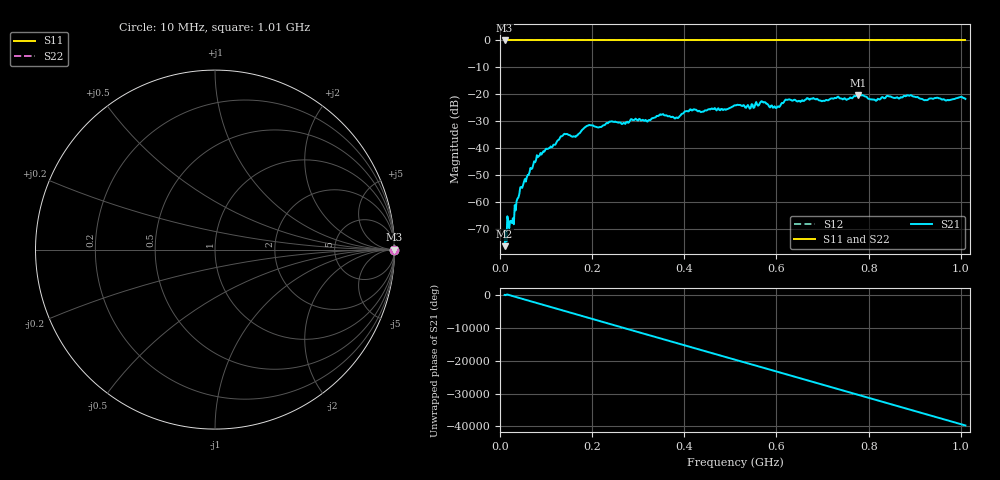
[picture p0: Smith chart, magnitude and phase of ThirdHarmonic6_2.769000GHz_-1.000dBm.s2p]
! 8/17/2025 7:02:09 AM
! C:\ANRITSUVNA\TEMP\TEMP.S2P
! CHANNEL.1
! TR.MEASUREMENT
! RAW.DATA
! RF.CORRECTION.OFF
! AVERAGING.OFF
! IF.BANDWIDTH: 5KHZ
! SWEEPTYPE:  FREQ.SWEEP(Linear)
! Reference Plane Port Info
! PORT:  PORT1  PORT2
! DISTANCE:  0  m  0  m
! TIME:  0  s  0  s
! PHASE.OFFSET:  0  deg.  0  deg.
! LOSS:  0  dB  0  dB
! REF.LOSS:  0  dB  0  dB
! REF.FREQ:  0  Hz  0  Hz
! Power Info
! POWER:  -20  dBm  -20  dBm
! EFF.POWER:  -20  dBm  -20  dBm
! SOURCE.ATTEN:  0  dB  0  dB
! TEST.ATTEN:  0  dB  0  dB
# GHZ S RI R 50.0
! FREQ.GHZ  S11RE  S11IM  S21RE  S21IM  S12RE  S12IM  S22RE  S22IM
!; PortSelection: Port_12
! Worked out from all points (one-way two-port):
!   501 points, 10 MHz to 1.01 GHz, reference 50 ohm
!   highest |S21| = -20.30 dB at 778 MHz (marker M1); lowest = -76.5 dB at 10 MHz (marker M2)
!   lowest |S11| = 0.0 dB at 10 MHz (marker M3)
!   |S11| at or under -10 dB: nowhere
!   |S22| runs from 0.0 to 0.0 dB; largest |S21 - S12| = 1.1
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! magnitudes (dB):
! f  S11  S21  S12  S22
! 10 MHz  0.0  -76.5  0.0  0.0
! 16 MHz  0.0  -65.4  0.0  0.0
! 30 MHz  0.0  -68.4  0.0  0.0
! 42 MHz  0.0  -57.1  0.0  0.0
! 78 MHz  0.0  -44.6  0.0  0.0
! 136 MHz  0.0  -35.4  0.0  0.0
! 162 MHz  0.0  -35.7  0.0  0.0
! 178 MHz  0.0  -33.3  0.0  0.0
! 192 MHz  0.0  -31.6  0.0  0.0
! 322 MHz  0.0  -29.7  0.0  0.0
! 344 MHz  0.0  -28.1  0.0  0.0
! 382 MHz  0.0  -28.7  0.0  0.0
! 416 MHz  0.0  -26.0  0.0  0.0
! 510 MHz  0.0  -24.1  0.0  0.0
! 570 MHz  0.0  -22.8  0.0  0.0
! 596 MHz  0.0  -24.5  0.0  0.0
! 624 MHz  0.0  -22.1  0.0  0.0
! 678 MHz  0.0  -21.7  0.0  0.0
! 778 MHz  0.0  -20.3  0.0  0.0
! 814 MHz  0.0  -22.2  0.0  0.0
! 844 MHz  0.0  -20.8  0.0  0.0
! 1.01 GHz  0.0  -21.8  0.0  0.0
